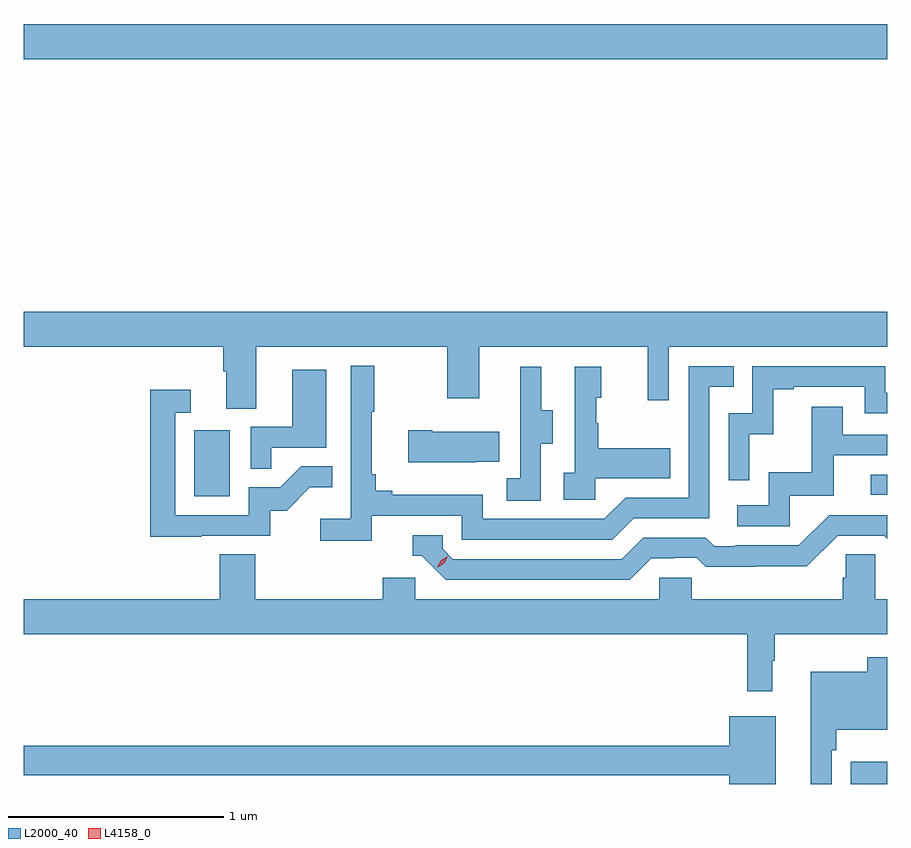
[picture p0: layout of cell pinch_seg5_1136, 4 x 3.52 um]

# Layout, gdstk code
import gdstk
lib = gdstk.Library(unit=1e-6, precision=1e-09)
def R(c, l, rs):  # rectangles x0, y0, x1, y1
    for r in rs: c.add(gdstk.rectangle(r[:2], r[2:], *l))
def P(c, l, *ps):  # polygons
    for p in ps: c.add(gdstk.Polygon(p, *l))
L2000_40 = (2000, 40)
L4158_0 = (4158, 0)

pinch_seg5_1136 = lib.new_cell('pinch_seg5_1136')
R(pinch_seg5_1136, L2000_40, [(843.464,846.743,843.632,846.847), (840.422,848.076,840.586,848.383), (843.555,848.082,843.632,848.175), (839.632,850.1,843.632,850.264)])
P(pinch_seg5_1136, L2000_40, [(840.709,848.768),(841.594,848.768),(841.594,848.529),(841.741,848.529),(841.741,848.768),(842.522,848.768),(842.522,848.52),(842.619,848.52),(842.619,848.768),(843.632,848.768),(843.632,848.932),(839.632,848.932),(839.632,848.768),(840.557,848.768),(840.557,848.656),(840.569,848.656),(840.569,848.482),(840.709,848.482)],
  [(841.244,847.986),(841.662,847.986),(841.662,847.875),(842.359,847.875),(842.458,847.974),(842.808,847.974),(842.808,848.583),(842.921,848.583),(842.921,848.679),(842.712,848.679),(842.712,848.07),(842.421,848.07),(842.322,847.971),(841.758,847.971),(841.758,848.083),(841.339,848.083),(841.339,848.102),(841.262,848.102),(841.262,848.179),(841.243,848.179),(841.243,848.467),(841.255,848.467),(841.255,848.68),(841.146,848.68),(841.146,847.972),(841.005,847.972),(841.005,847.87),(841.244,847.87)],
  [(842.994,848.363),(843.104,848.363),(843.104,848.571),(843.199,848.571),(843.199,848.583),(843.528,848.583),(843.528,848.46),(843.632,848.46),(843.632,848.556),(843.624,848.556),(843.624,848.679),(843.006,848.679),(843.006,848.46),(842.898,848.46),(842.898,848.151),(842.994,848.151)],
  [(842.28,848.159),(842.627,848.159),(842.627,848.299),(842.293,848.299),(842.293,848.414),(842.283,848.414),(842.283,848.532),(842.308,848.532),(842.308,848.677),(842.184,848.677),(842.184,848.186),(842.133,848.186),(842.133,848.061),(842.28,848.061)],
  [(842.028,848.32),(842.083,848.32),(842.083,848.475),(842.029,848.475),(842.029,848.677),(841.931,848.677),(841.931,848.463),(841.932,848.463),(841.932,848.159),(841.869,848.159),(841.869,848.056),(842.028,848.056)],
  [(840.779,848.301),(841.033,848.301),(841.033,848.662),(840.875,848.662),(840.875,848.397),(840.684,848.397),(840.684,848.203),(840.779,848.203)],
  [(840.455,847.893),(840.774,847.893),(840.774,848.01),(840.85,848.01),(840.957,848.117),(841.061,848.117),(841.061,848.216),(840.917,848.216),(840.819,848.118),(840.675,848.118),(840.675,847.989),(840.333,847.989),(840.333,848.463),(840.406,848.463),(840.406,848.569),(840.217,848.569),(840.217,847.888),(840.455,847.888)],
  [(843.18,848.079),(843.385,848.079),(843.385,848.265),(843.632,848.265),(843.632,848.361),(843.427,848.361),(843.427,848.491),(843.283,848.491),(843.283,848.188),(843.084,848.188),(843.084,848.034),(842.937,848.034),(842.937,847.938),(843.18,847.938)],
  [(841.727,848.237),(841.835,848.237),(841.835,848.374),(841.525,848.374),(841.525,848.382),(841.413,848.382),(841.413,848.234),(841.727,848.234)],
  [(842.539,847.788),(842.646,847.788),(842.646,847.791),(842.749,847.791),(842.791,847.749),(843.024,847.749),(843.024,847.751),(843.26,847.751),(843.402,847.893),(843.618,847.893),(843.632,847.879),(843.632,847.989),(843.363,847.989),(843.222,847.848),(842.929,847.848),(842.929,847.845),(842.83,847.845),(842.791,847.884),(842.502,847.884),(842.403,847.785),(841.62,847.785),(841.572,847.833),(841.572,847.896),(841.433,847.896),(841.433,847.8),(841.476,847.8),(841.587,847.689),(842.44,847.689)],
  [(843.1,847.313),(843.112,847.313),(843.112,847.436),(843.632,847.436),(843.632,847.6),(843.576,847.6),(843.576,847.808),(843.439,847.808),(843.439,847.698),(843.425,847.698),(843.425,847.6),(842.727,847.6),(842.727,847.698),(842.577,847.698),(842.577,847.6),(841.446,847.6),(841.446,847.698),(841.295,847.698),(841.295,847.6),(840.704,847.6),(840.704,847.808),(840.539,847.808),(840.539,847.6),(839.632,847.6),(839.632,847.436),(842.983,847.436),(842.983,847.173),(843.1,847.173)],
  [(843.375,846.899),(843.395,846.899),(843.395,846.995),(843.632,846.995),(843.632,847.33),(843.54,847.33),(843.54,847.264),(843.278,847.264),(843.278,846.743),(843.375,846.743)],
  [(843.115,847.057),(842.9,847.057),(842.9,846.92),(839.632,846.92),(839.632,846.784),(842.9,846.784),(842.9,846.743),(843.115,846.743)])
P(pinch_seg5_1136, L4158_0, [(841.548,847.747),(841.548,847.747),(841.565,847.779),(841.597,847.798),(841.597,847.798),(841.597,847.798),(841.58,847.766),(841.549,847.747)])

lib.write_gds('pinch_seg5_1136.gds')
